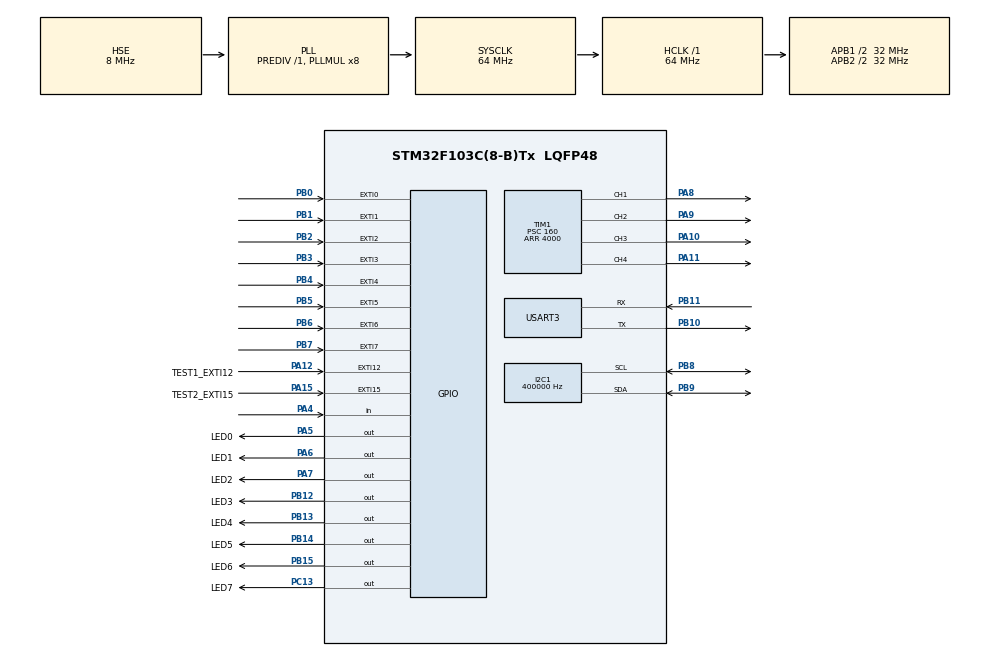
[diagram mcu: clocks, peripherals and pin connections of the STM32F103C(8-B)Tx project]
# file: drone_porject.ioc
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I2C1.ClockSpeed=400000
I2C1.DutyCycle=I2C_DUTYCYCLE_16_9
I2C1.I2C_Mode=I2C_Fast
Mcu.Family=STM32F1
Mcu.Name=STM32F103C(8-B)Tx
Mcu.Package=LQFP48
NVIC.EXTI0_IRQn=true\:0\:0\:false\:false\:true\:true
NVIC.EXTI15_10_IRQn=true\:0\:0\:false\:false\:true\:true
NVIC.EXTI1_IRQn=true\:0\:0\:false\:false\:true\:true
NVIC.EXTI2_IRQn=true\:0\:0\:false\:false\:true\:true
NVIC.EXTI3_IRQn=true\:0\:0\:false\:false\:true\:true
NVIC.EXTI4_IRQn=true\:0\:0\:false\:false\:true\:true
NVIC.EXTI9_5_IRQn=true\:0\:0\:false\:false\:true\:true
NVIC.I2C1_ER_IRQn=true\:0\:0\:false\:false\:true\:true
NVIC.I2C1_EV_IRQn=true\:0\:0\:false\:false\:true\:true
NVIC.PriorityGroup=NVIC_PRIORITYGROUP_4
NVIC.TIM2_IRQn=true\:0\:0\:false\:false\:true\:true
NVIC.USART3_IRQn=true\:0\:0\:false\:false\:true\:true
PA0-WKUP.Signal=ADCx_IN0
PA1.Signal=ADCx_IN1
PA10.GPIO_ModeDefaultPP=GPIO_MODE_AF_OD
PA10.Signal=S_TIM1_CH3
PA11.GPIO_ModeDefaultPP=GPIO_MODE_AF_OD
PA11.Signal=S_TIM1_CH4
PA12.GPIO_Label=TEST1_EXTI12
PA12.Signal=GPXTI12
PA15.GPIO_Label=TEST2_EXTI15
PA15.Signal=GPXTI15
PA2.Signal=USART2_TX
PA3.Signal=USART2_RX
PA4.Signal=GPIO_Input
PA5.GPIO_Label=LED0
PA5.Signal=GPIO_Output
PA6.GPIO_Label=LED1
PA6.Signal=GPIO_Output
PA7.GPIO_Label=LED2
PA7.Signal=GPIO_Output
PA8.GPIO_ModeDefaultPP=GPIO_MODE_AF_OD
PA8.Signal=S_TIM1_CH1
PA9.GPIO_ModeDefaultPP=GPIO_MODE_AF_OD
PA9.Signal=S_TIM1_CH2
PB0.Signal=GPXTI0
PB1.Signal=GPXTI1
PB10.Mode=Asynchronous
PB10.Signal=USART3_TX
PB11.Mode=Asynchronous
PB11.Signal=USART3_RX
PB12.GPIO_Label=LED3
PB12.Signal=GPIO_Output
PB13.GPIO_Label=LED4
PB13.Signal=GPIO_Output
PB14.GPIO_Label=LED5
PB14.Signal=GPIO_Output
PB15.GPIO_Label=LED6
PB15.Signal=GPIO_Output
PB2.Signal=GPXTI2
PB3.Signal=GPXTI3
PB4.Signal=GPXTI4
PB5.Signal=GPXTI5
PB6.Signal=GPXTI6
PB7.Signal=GPXTI7
PB8.GPIO_Mode=GPIO_MODE_AF_OD
PB8.Mode=I2C
PB8.Signal=I2C1_SCL
PB9.Mode=I2C
PB9.Signal=I2C1_SDA
PC13-TAMPER-RTC.GPIO_Label=LED7
PC13-TAMPER-RTC.Signal=GPIO_Output
PD0-OSC_IN.Mode=HSE-External-Oscillator
PD0-OSC_IN.Signal=RCC_OSC_IN
PD1-OSC_OUT.Mode=HSE-External-Oscillator
PD1-OSC_OUT.Signal=RCC_OSC_OUT
ProjectManager.HeapSize=0x200
ProjectManager.StackSize=0x400
ProjectManager.TargetToolchain=SW4STM32
RCC.ADCPresc=RCC_ADCPCLK2_DIV4
RCC.AHBFreq_Value=64000000
RCC.APB1CLKDivider=RCC_HCLK_DIV2
RCC.APB1Freq_Value=32000000
RCC.APB1TimFreq_Value=64000000
RCC.APB2CLKDivider=RCC_HCLK_DIV2
RCC.APB2Freq_Value=32000000
RCC.APB2TimFreq_Value=64000000
RCC.HCLKFreq_Value=64000000
RCC.PLLMUL=RCC_PLL_MUL8
RCC.PLLSourceVirtual=RCC_PLLSOURCE_HSE
RCC.SYSCLKFreq_VALUE=64000000
RCC.SYSCLKSource=RCC_SYSCLKSOURCE_PLLCLK
RCC.USBFreq_Value=64000000
SH.ADCx_IN0.0=ADC1_IN0
SH.ADCx_IN1.0=ADC1_IN1
SH.S_TIM1_CH1.0=TIM1_CH1,PWM Generation1 CH1
SH.S_TIM1_CH2.0=TIM1_CH2,PWM Generation2 CH2
SH.S_TIM1_CH3.0=TIM1_CH3,PWM Generation3 CH3
SH.S_TIM1_CH4.0=TIM1_CH4,PWM Generation4 CH4
TIM1.Channel-PWM\ Generation1\ CH1=TIM_CHANNEL_1
TIM1.Channel-PWM\ Generation2\ CH2=TIM_CHANNEL_2
TIM1.Channel-PWM\ Generation3\ CH3=TIM_CHANNEL_3
TIM1.Channel-PWM\ Generation4\ CH4=TIM_CHANNEL_4
TIM1.OCFastMode_PWM-PWM\ Generation4\ CH4=TIM_OCFAST_DISABLE
TIM1.Period=4000
TIM1.Prescaler=160
TIM1.Pulse-PWM\ Generation1\ CH1=500
TIM1.Pulse-PWM\ Generation2\ CH2=500
TIM1.Pulse-PWM\ Generation3\ CH3=500
TIM1.Pulse-PWM\ Generation4\ CH4=500
TIM2.Period=40
TIM2.Prescaler=16
USART3.VirtualMode=VM_ASYNC
VP_SYS_VS_ND.Mode=No_Debug
VP_TIM1_VS_ClockSourceINT.Mode=Internal
VP_TIM2_VS_ClockSourceINT.Mode=Internal
board=custom

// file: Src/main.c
/**
  ******************************************************************************
  * @file           : main.c
  * @brief          : Main program body
  ******************************************************************************
  ** This notice applies to any and all portions of this file
  * that are not between comment pairs USER CODE BEGIN and
  * USER CODE END. Other portions of this file, whether
  * inserted by the user or by software development tools
  * are owned by their respective copyright owners.
  *
  * COPYRIGHT(c) 2018 STMicroelectronics
  *
  * Redistribution and use in source and binary forms, with or without modification,
  * are permitted provided that the following conditions are met:
  *   1. Redistributions of source code must retain the above copyright notice,
  *      this list of conditions and the following disclaimer.
  *   2. Redistributions in binary form must reproduce the above copyright notice,
  *      this list of conditions and the following disclaimer in the documentation
  *      and/or other materials provided with the distribution.
  *   3. Neither the name of STMicroelectronics nor the names of its contributors
  *      may be used to endorse or promote products derived from this software
  *      without specific prior written permission.
  *
  * THIS SOFTWARE IS PROVIDED BY THE COPYRIGHT HOLDERS AND CONTRIBUTORS "AS IS"
  * AND ANY EXPRESS OR IMPLIED WARRANTIES, INCLUDING, BUT NOT LIMITED TO, THE
  * IMPLIED WARRANTIES OF MERCHANTABILITY AND FITNESS FOR A PARTICULAR PURPOSE ARE
  * DISCLAIMED. IN NO EVENT SHALL THE COPYRIGHT HOLDER OR CONTRIBUTORS BE LIABLE
  * FOR ANY DIRECT, INDIRECT, INCIDENTAL, SPECIAL, EXEMPLARY, OR CONSEQUENTIAL
  * DAMAGES (INCLUDING, BUT NOT LIMITED TO, PROCUREMENT OF SUBSTITUTE GOODS OR
  * SERVICES; LOSS OF USE, DATA, OR PROFITS; OR BUSINESS INTERRUPTION) HOWEVER
  * CAUSED AND ON ANY THEORY OF LIABILITY, WHETHER IN CONTRACT, STRICT LIABILITY,
  * OR TORT (INCLUDING NEGLIGENCE OR OTHERWISE) ARISING IN ANY WAY OUT OF THE USE
  * OF THIS SOFTWARE, EVEN IF ADVISED OF THE POSSIBILITY OF SUCH DAMAGE.
  *
  ******************************************************************************
  */
#include "main.h"
#include "stm32f1xx_hal.h"

/* USER CODE BEGIN Includes */
#include <string.h>
#include <stdio.h>
#include "I2Cmaster.h"
#include "mpu9250.h"
#include "drone_compute.h"
#include "drone_math.h"
#include "struct_type.h"
#include "motor_control.h"
/* USER CODE END Includes */

I2C_HandleTypeDef hi2c1;

TIM_HandleTypeDef htim1;
TIM_HandleTypeDef htim2;

UART_HandleTypeDef huart3;

/* USER CODE BEGIN PV */
/* Private variables ---------------------------------------------------------*/

/* USER CODE END PV */

void SystemClock_Config(void);
static void MX_GPIO_Init(void);
static void MX_TIM1_Init(void);
static void MX_TIM2_Init(void);
static void MX_I2C1_Init(void);
static void MX_USART3_UART_Init(void);

void HAL_TIM_MspPostInit(TIM_HandleTypeDef *htim);

/* USER CODE BEGIN PFP */
/* Private function prototypes -----------------------------------------------*/

/* USER CODE END PFP */

/* USER CODE BEGIN 0 */
volatile uint32_t time=0;
volatile uint32_t time1=0;
void HAL_TIM_PeriodElapsedCallback(TIM_HandleTypeDef *htim)
{
  UNUSED(htim);
  if(htim->Instance==TIM2){    //10us
    time++;
    time1++;
  }
}

void HAL_UART_RxCpltCallback(UART_HandleTypeDef *huart)
{
  UNUSED(huart);
}
/* USER CODE END 0 */

int main(void)
{
  /* USER CODE BEGIN 1 */
  int toggle =0;
  char str[50];
  float_data rpy;
  /* USER CODE END 1 */

  /* MCU Configuration----------------------------------------------------------*/

  /* Reset of all peripherals, Initializes the Flash interface and the Systick. */
  HAL_Init();

  /* Configure the system clock */
  SystemClock_Config();

  /* Initialize all configured peripherals */
  MX_GPIO_Init();
  MX_TIM1_Init();
  MX_TIM2_Init();
  MX_I2C1_Init();
  MX_USART3_UART_Init();
  /* USER CODE BEGIN 2 */
  HAL_Delay(100);
  sprintf(str,"HAL_Initializing OK\n");
  HAL_UART_Transmit(&huart3, str, strlen(str), 20);
  HAL_GPIO_WritePin(GPIOA, GPIO_PIN_5, 1);
  HAL_GPIO_WritePin(GPIOA, GPIO_PIN_6, 1);
  HAL_GPIO_WritePin(GPIOA, GPIO_PIN_7, 1);
  HAL_GPIO_WritePin(GPIOB, GPIO_PIN_12, 1);
  HAL_GPIO_WritePin(GPIOB, GPIO_PIN_13, 1);
  HAL_GPIO_WritePin(GPIOB, GPIO_PIN_14, 1);
  HAL_GPIO_WritePin(GPIOB, GPIO_PIN_15, 1);
  HAL_GPIO_WritePin(GPIOC, GPIO_PIN_13, 1);
  mpu_set_init();
  mpu_set_mag_init();
  mpu_get_mpucalibrate();
  sprintf(str,"MPU_Initializing OK\n");
  HAL_UART_Transmit(&huart3, str, strlen(str), 20);

  //while(mpu_test());
  HAL_Delay(1000);
  HAL_TIM_Base_Start_IT(&htim2);
  time = 0;
  sprintf(str,"TIM_Initializing OK\n");
  HAL_UART_Transmit(&huart3, str, strlen(str), 20);
  /* USER CODE END 2 */

  /* Infinite loop */
  /* USER CODE BEGIN WHILE */
  while (1)
  {
//    compute_IMU(&rpy);
    droneRPY_print();

  /* USER CODE END WHILE */

  }

}

void SystemClock_Config(void)
{

  RCC_OscInitTypeDef RCC_OscInitStruct;
  RCC_ClkInitTypeDef RCC_ClkInitStruct;

    /**Initializes the CPU, AHB and APB busses clocks
    */
  RCC_OscInitStruct.OscillatorType = RCC_OSCILLATORTYPE_HSE;
  RCC_OscInitStruct.HSEState = RCC_HSE_ON;
  RCC_OscInitStruct.HSEPredivValue = RCC_HSE_PREDIV_DIV1;
  RCC_OscInitStruct.HSIState = RCC_HSI_ON;
  RCC_OscInitStruct.PLL.PLLState = RCC_PLL_ON;
  RCC_OscInitStruct.PLL.PLLSource = RCC_PLLSOURCE_HSE;
  RCC_OscInitStruct.PLL.PLLMUL = RCC_PLL_MUL8;
  if (HAL_RCC_OscConfig(&RCC_OscInitStruct) != HAL_OK)
  {
    _Error_Handler(__FILE__, __LINE__);
  }

    /**Initializes the CPU, AHB and APB busses clocks
    */
  RCC_ClkInitStruct.ClockType = RCC_CLOCKTYPE_HCLK|RCC_CLOCKTYPE_SYSCLK
                              |RCC_CLOCKTYPE_PCLK1|RCC_CLOCKTYPE_PCLK2;
  RCC_ClkInitStruct.SYSCLKSource = RCC_SYSCLKSOURCE_PLLCLK;
  RCC_ClkInitStruct.AHBCLKDivider = RCC_SYSCLK_DIV1;
  RCC_ClkInitStruct.APB1CLKDivider = RCC_HCLK_DIV2;
  RCC_ClkInitStruct.APB2CLKDivider = RCC_HCLK_DIV2;

  if (HAL_RCC_ClockConfig(&RCC_ClkInitStruct, FLASH_LATENCY_2) != HAL_OK)
  {
    _Error_Handler(__FILE__, __LINE__);
  }

    /**Configure the Systick interrupt time
    */
  HAL_SYSTICK_Config(HAL_RCC_GetHCLKFreq()/1000);

    /**Configure the Systick
    */
  HAL_SYSTICK_CLKSourceConfig(SYSTICK_CLKSOURCE_HCLK);

  /* SysTick_IRQn interrupt configuration */
  HAL_NVIC_SetPriority(SysTick_IRQn, 0, 0);
}

/* I2C1 init function */
static void MX_I2C1_Init(void)
{

  hi2c1.Instance = I2C1;
  hi2c1.Init.ClockSpeed = 400000;
  hi2c1.Init.DutyCycle = I2C_DUTYCYCLE_16_9;
  hi2c1.Init.OwnAddress1 = 0;
  hi2c1.Init.AddressingMode = I2C_ADDRESSINGMODE_7BIT;
  hi2c1.Init.DualAddressMode = I2C_DUALADDRESS_DISABLE;
  hi2c1.Init.OwnAddress2 = 0;
  hi2c1.Init.GeneralCallMode = I2C_GENERALCALL_DISABLE;
  hi2c1.Init.NoStretchMode = I2C_NOSTRETCH_DISABLE;
  if (HAL_I2C_Init(&hi2c1) != HAL_OK)
  {
    _Error_Handler(__FILE__, __LINE__);
  }

}

/* TIM1 init function */
static void MX_TIM1_Init(void)
{

  TIM_ClockConfigTypeDef sClockSourceConfig;
  TIM_MasterConfigTypeDef sMasterConfig;
  TIM_OC_InitTypeDef sConfigOC;
  TIM_BreakDeadTimeConfigTypeDef sBreakDeadTimeConfig;

  htim1.Instance = TIM1;
  htim1.Init.Prescaler = 160;
  htim1.Init.CounterMode = TIM_COUNTERMODE_UP;
  htim1.Init.Period = 4000;
  htim1.Init.ClockDivision = TIM_CLOCKDIVISION_DIV1;
  htim1.Init.RepetitionCounter = 0;
  htim1.Init.AutoReloadPreload = TIM_AUTORELOAD_PRELOAD_DISABLE;
  if (HAL_TIM_Base_Init(&htim1) != HAL_OK)
  {
    _Error_Handler(__FILE__, __LINE__);
  }

  sClockSourceConfig.ClockSource = TIM_CLOCKSOURCE_INTERNAL;
  if (HAL_TIM_ConfigClockSource(&htim1, &sClockSourceConfig) != HAL_OK)
  {
    _Error_Handler(__FILE__, __LINE__);
  }

  if (HAL_TIM_PWM_Init(&htim1) != HAL_OK)
  {
    _Error_Handler(__FILE__, __LINE__);
  }

  sMasterConfig.MasterOutputTrigger = TIM_TRGO_RESET;
  sMasterConfig.MasterSlaveMode = TIM_MASTERSLAVEMODE_DISABLE;
  if (HAL_TIMEx_MasterConfigSynchronization(&htim1, &sMasterConfig) != HAL_OK)
  {
    _Error_Handler(__FILE__, __LINE__);
  }

  sConfigOC.OCMode = TIM_OCMODE_PWM1;
  sConfigOC.Pulse = 500;
  sConfigOC.OCPolarity = TIM_OCPOLARITY_HIGH;
  sConfigOC.OCNPolarity = TIM_OCNPOLARITY_HIGH;
  sConfigOC.OCFastMode = TIM_OCFAST_DISABLE;
  sConfigOC.OCIdleState = TIM_OCIDLESTATE_RESET;
  sConfigOC.OCNIdleState = TIM_OCNIDLESTATE_RESET;
  if (HAL_TIM_PWM_ConfigChannel(&htim1, &sConfigOC, TIM_CHANNEL_1) != HAL_OK)
  {
    _Error_Handler(__FILE__, __LINE__);
  }

  if (HAL_TIM_PWM_ConfigChannel(&htim1, &sConfigOC, TIM_CHANNEL_2) != HAL_OK)
  {
    _Error_Handler(__FILE__, __LINE__);
  }

  if (HAL_TIM_PWM_ConfigChannel(&htim1, &sConfigOC, TIM_CHANNEL_3) != HAL_OK)
  {
    _Error_Handler(__FILE__, __LINE__);
  }

  if (HAL_TIM_PWM_ConfigChannel(&htim1, &sConfigOC, TIM_CHANNEL_4) != HAL_OK)
  {
    _Error_Handler(__FILE__, __LINE__);
  }

  sBreakDeadTimeConfig.OffStateRunMode = TIM_OSSR_DISABLE;
  sBreakDeadTimeConfig.OffStateIDLEMode = TIM_OSSI_DISABLE;
  sBreakDeadTimeConfig.LockLevel = TIM_LOCKLEVEL_OFF;
  sBreakDeadTimeConfig.DeadTime = 0;
  sBreakDeadTimeConfig.BreakState = TIM_BREAK_DISABLE;
  sBreakDeadTimeConfig.BreakPolarity = TIM_BREAKPOLARITY_HIGH;
  sBreakDeadTimeConfig.AutomaticOutput = TIM_AUTOMATICOUTPUT_DISABLE;
  if (HAL_TIMEx_ConfigBreakDeadTime(&htim1, &sBreakDeadTimeConfig) != HAL_OK)
  {
    _Error_Handler(__FILE__, __LINE__);
  }

  HAL_TIM_MspPostInit(&htim1);

}

/* TIM2 init function */
static void MX_TIM2_Init(void)
{

  TIM_ClockConfigTypeDef sClockSourceConfig;
  TIM_MasterConfigTypeDef sMasterConfig;

  htim2.Instance = TIM2;
  htim2.Init.Prescaler = 16;
  htim2.Init.CounterMode = TIM_COUNTERMODE_UP;
  htim2.Init.Period = 40;
  htim2.Init.ClockDivision = TIM_CLOCKDIVISION_DIV1;
  htim2.Init.AutoReloadPreload = TIM_AUTORELOAD_PRELOAD_DISABLE;
  if (HAL_TIM_Base_Init(&htim2) != HAL_OK)
  {
    _Error_Handler(__FILE__, __LINE__);
  }

  sClockSourceConfig.ClockSource = TIM_CLOCKSOURCE_INTERNAL;
  if (HAL_TIM_ConfigClockSource(&htim2, &sClockSourceConfig) != HAL_OK)
  {
    _Error_Handler(__FILE__, __LINE__);
  }

  sMasterConfig.MasterOutputTrigger = TIM_TRGO_RESET;
  sMasterConfig.MasterSlaveMode = TIM_MASTERSLAVEMODE_DISABLE;
  if (HAL_TIMEx_MasterConfigSynchronization(&htim2, &sMasterConfig) != HAL_OK)
  {
    _Error_Handler(__FILE__, __LINE__);
  }

}

/* USART3 init function */
static void MX_USART3_UART_Init(void)
{

  huart3.Instance = USART3;
  huart3.Init.BaudRate = 115200;
  huart3.Init.WordLength = UART_WORDLENGTH_8B;
  huart3.Init.StopBits = UART_STOPBITS_1;
  huart3.Init.Parity = UART_PARITY_NONE;
  huart3.Init.Mode = UART_MODE_TX_RX;
  huart3.Init.HwFlowCtl = UART_HWCONTROL_NONE;
  huart3.Init.OverSampling = UART_OVERSAMPLING_16;
  if (HAL_UART_Init(&huart3) != HAL_OK)
  {
    _Error_Handler(__FILE__, __LINE__);
  }

}

/** Configure pins as
        * Analog
        * Input
        * Output
        * EVENT_OUT
        * EXTI
     PA0-WKUP   ------> ADCx_IN0
     PA1   ------> ADCx_IN1
     PA2   ------> USART2_TX
     PA3   ------> USART2_RX
*/
static void MX_GPIO_Init(void)
{

  GPIO_InitTypeDef GPIO_InitStruct;

  /* GPIO Ports Clock Enable */
  __HAL_RCC_GPIOC_CLK_ENABLE();
  __HAL_RCC_GPIOD_CLK_ENABLE();
  __HAL_RCC_GPIOA_CLK_ENABLE();
  __HAL_RCC_GPIOB_CLK_ENABLE();

  /*Configure GPIO pin Output Level */
  HAL_GPIO_WritePin(LED7_GPIO_Port, LED7_Pin, GPIO_PIN_RESET);

  /*Configure GPIO pin Output Level */
  HAL_GPIO_WritePin(GPIOA, LED0_Pin|LED1_Pin|LED2_Pin, GPIO_PIN_RESET);

  /*Configure GPIO pin Output Level */
  HAL_GPIO_WritePin(GPIOB, LED3_Pin|LED4_Pin|LED5_Pin|LED6_Pin, GPIO_PIN_RESET);

  /*Configure GPIO pin : LED7_Pin */
  GPIO_InitStruct.Pin = LED7_Pin;
  GPIO_InitStruct.Mode = GPIO_MODE_OUTPUT_PP;
  GPIO_InitStruct.Pull = GPIO_NOPULL;
  GPIO_InitStruct.Speed = GPIO_SPEED_FREQ_LOW;
  HAL_GPIO_Init(LED7_GPIO_Port, &GPIO_InitStruct);

  /*Configure GPIO pins : PA0 PA1 */
  GPIO_InitStruct.Pin = GPIO_PIN_0|GPIO_PIN_1;
  GPIO_InitStruct.Mode = GPIO_MODE_ANALOG;
  HAL_GPIO_Init(GPIOA, &GPIO_InitStruct);

  /*Configure GPIO pin : PA2 */
  GPIO_InitStruct.Pin = GPIO_PIN_2;
  GPIO_InitStruct.Mode = GPIO_MODE_AF_PP;
  GPIO_InitStruct.Speed = GPIO_SPEED_FREQ_HIGH;
  HAL_GPIO_Init(GPIOA, &GPIO_InitStruct);

  /*Configure GPIO pin : PA3 */
  GPIO_InitStruct.Pin = GPIO_PIN_3;
  GPIO_InitStruct.Mode = GPIO_MODE_INPUT;
  GPIO_InitStruct.Pull = GPIO_NOPULL;
  HAL_GPIO_Init(GPIOA, &GPIO_InitStruct);

  /*Configure GPIO pin : PA4 */
  GPIO_InitStruct.Pin = GPIO_PIN_4;
  GPIO_InitStruct.Mode = GPIO_MODE_INPUT;
  GPIO_InitStruct.Pull = GPIO_NOPULL;
  HAL_GPIO_Init(GPIOA, &GPIO_InitStruct);

  /*Configure GPIO pins : LED0_Pin LED1_Pin LED2_Pin */
  GPIO_InitStruct.Pin = LED0_Pin|LED1_Pin|LED2_Pin;
  GPIO_InitStruct.Mode = GPIO_MODE_OUTPUT_PP;
  GPIO_InitStruct.Pull = GPIO_NOPULL;
  GPIO_InitStruct.Speed = GPIO_SPEED_FREQ_LOW;
  HAL_GPIO_Init(GPIOA, &GPIO_InitStruct);

  /*Configure GPIO pins : PB0 PB1 PB2 PB3
                           PB4 PB5 PB6 PB7 */
  GPIO_InitStruct.Pin = GPIO_PIN_0|GPIO_PIN_1|GPIO_PIN_2|GPIO_PIN_3
                          |GPIO_PIN_4|GPIO_PIN_5|GPIO_PIN_6|GPIO_PIN_7;
  GPIO_InitStruct.Mode = GPIO_MODE_IT_RISING;
  GPIO_InitStruct.Pull = GPIO_NOPULL;
  HAL_GPIO_Init(GPIOB, &GPIO_InitStruct);

  /*Configure GPIO pins : LED3_Pin LED4_Pin LED5_Pin LED6_Pin */
  GPIO_InitStruct.Pin = LED3_Pin|LED4_Pin|LED5_Pin|LED6_Pin;
  GPIO_InitStruct.Mode = GPIO_MODE_OUTPUT_PP;
  GPIO_InitStruct.Pull = GPIO_NOPULL;
  GPIO_InitStruct.Speed = GPIO_SPEED_FREQ_LOW;
  HAL_GPIO_Init(GPIOB, &GPIO_InitStruct);

  /*Configure GPIO pins : TEST1_EXTI12_Pin TEST2_EXTI15_Pin */
  GPIO_InitStruct.Pin = TEST1_EXTI12_Pin|TEST2_EXTI15_Pin;
  GPIO_InitStruct.Mode = GPIO_MODE_IT_RISING;
  GPIO_InitStruct.Pull = GPIO_NOPULL;
  HAL_GPIO_Init(GPIOA, &GPIO_InitStruct);

  /* EXTI interrupt init*/
  HAL_NVIC_SetPriority(EXTI0_IRQn, 0, 0);
  HAL_NVIC_EnableIRQ(EXTI0_IRQn);

  HAL_NVIC_SetPriority(EXTI1_IRQn, 0, 0);
  HAL_NVIC_EnableIRQ(EXTI1_IRQn);

  HAL_NVIC_SetPriority(EXTI2_IRQn, 0, 0);
  HAL_NVIC_EnableIRQ(EXTI2_IRQn);

  HAL_NVIC_SetPriority(EXTI3_IRQn, 0, 0);
  HAL_NVIC_EnableIRQ(EXTI3_IRQn);

  HAL_NVIC_SetPriority(EXTI4_IRQn, 0, 0);
  HAL_NVIC_EnableIRQ(EXTI4_IRQn);

  HAL_NVIC_SetPriority(EXTI9_5_IRQn, 0, 0);
  HAL_NVIC_EnableIRQ(EXTI9_5_IRQn);

  HAL_NVIC_SetPriority(EXTI15_10_IRQn, 0, 0);
  HAL_NVIC_EnableIRQ(EXTI15_10_IRQn);

}

void _Error_Handler(char *file, int line)
{
  while(1)
  {
  }
}

/************************ (C) COPYRIGHT STMicroelectronics *****END OF FILE****/
